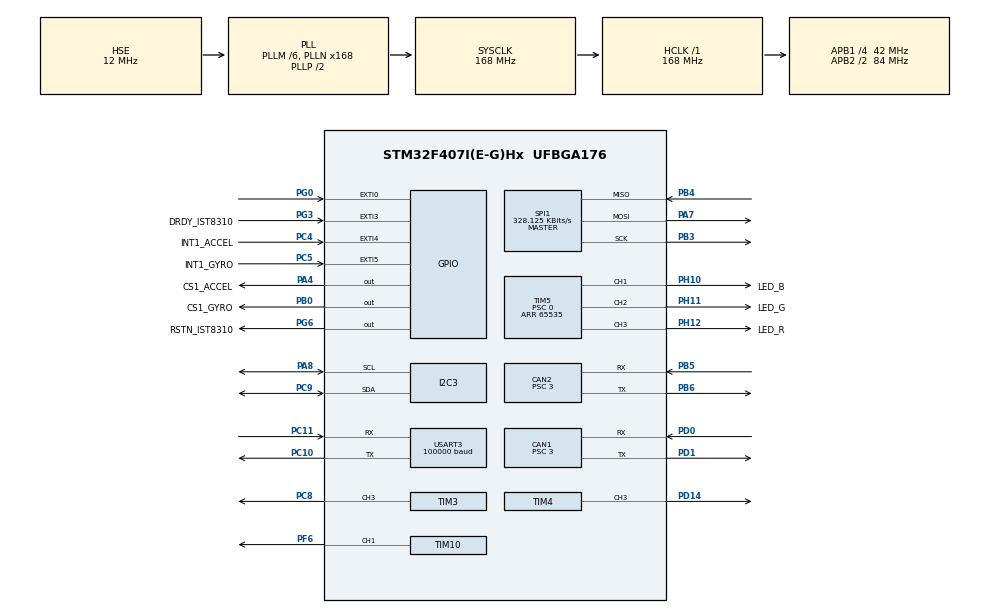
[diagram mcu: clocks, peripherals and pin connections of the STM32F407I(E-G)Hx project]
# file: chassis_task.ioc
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CAN1.BS1=CAN_BS1_10TQ
CAN1.BS2=CAN_BS2_3TQ
CAN1.CalculateBaudRate=1000000
CAN1.CalculateTimeQuantum=71.42857142857143
CAN1.Prescaler=3
CAN2.BS1=CAN_BS1_10TQ
CAN2.BS2=CAN_BS2_3TQ
CAN2.CalculateBaudRate=1000000
CAN2.CalculateTimeQuantum=71.42857142857143
CAN2.Prescaler=3
Dma.Request0=SPI1_RX
Dma.Request1=SPI1_TX
Dma.Request2=USART3_RX
Dma.SPI1_RX.0.Direction=DMA_PERIPH_TO_MEMORY
Dma.SPI1_RX.0.FIFOMode=DMA_FIFOMODE_DISABLE
Dma.SPI1_RX.0.Instance=DMA2_Stream2
Dma.SPI1_RX.0.MemDataAlignment=DMA_MDATAALIGN_BYTE
Dma.SPI1_RX.0.MemInc=DMA_MINC_ENABLE
Dma.SPI1_RX.0.Mode=DMA_NORMAL
Dma.SPI1_RX.0.PeriphDataAlignment=DMA_PDATAALIGN_BYTE
Dma.SPI1_RX.0.PeriphInc=DMA_PINC_DISABLE
Dma.SPI1_RX.0.Priority=DMA_PRIORITY_VERY_HIGH
Dma.SPI1_TX.1.Direction=DMA_MEMORY_TO_PERIPH
Dma.SPI1_TX.1.FIFOMode=DMA_FIFOMODE_DISABLE
Dma.SPI1_TX.1.Instance=DMA2_Stream3
Dma.SPI1_TX.1.MemDataAlignment=DMA_MDATAALIGN_BYTE
Dma.SPI1_TX.1.MemInc=DMA_MINC_ENABLE
Dma.SPI1_TX.1.Mode=DMA_NORMAL
Dma.SPI1_TX.1.PeriphDataAlignment=DMA_PDATAALIGN_BYTE
Dma.SPI1_TX.1.PeriphInc=DMA_PINC_DISABLE
Dma.SPI1_TX.1.Priority=DMA_PRIORITY_HIGH
Dma.USART3_RX.2.Direction=DMA_PERIPH_TO_MEMORY
Dma.USART3_RX.2.FIFOMode=DMA_FIFOMODE_DISABLE
Dma.USART3_RX.2.Instance=DMA1_Stream1
Dma.USART3_RX.2.MemDataAlignment=DMA_MDATAALIGN_BYTE
Dma.USART3_RX.2.MemInc=DMA_MINC_ENABLE
Dma.USART3_RX.2.Mode=DMA_NORMAL
Dma.USART3_RX.2.PeriphDataAlignment=DMA_PDATAALIGN_BYTE
Dma.USART3_RX.2.PeriphInc=DMA_PINC_DISABLE
Dma.USART3_RX.2.Priority=DMA_PRIORITY_HIGH
FREERTOS.INCLUDE_eTaskGetState=1
FREERTOS.INCLUDE_pcTaskGetTaskName=1
FREERTOS.INCLUDE_uxTaskGetStackHighWaterMark=1
FREERTOS.INCLUDE_vTaskCleanUpResources=1
FREERTOS.INCLUDE_vTaskDelayUntil=1
FREERTOS.INCLUDE_xEventGroupSetBitFromISR=1
FREERTOS.INCLUDE_xQueueGetMutexHolder=1
FREERTOS.INCLUDE_xSemaphoreGetMutexHolder=1
FREERTOS.INCLUDE_xTaskAbortDelay=1
FREERTOS.INCLUDE_xTaskGetCurrentTaskHandle=1
FREERTOS.INCLUDE_xTaskGetHandle=1
FREERTOS.INCLUDE_xTimerPendFunctionCall=1
FREERTOS.Tasks01=test,24,128,test_task,As weak,NULL,Dynamic,NULL,NULL
FREERTOS.configTOTAL_HEAP_SIZE=24576
I2C3.I2C_Mode=I2C_Fast
Mcu.Family=STM32F4
Mcu.Name=STM32F407I(E-G)Hx
Mcu.Package=UFBGA176
NVIC.CAN1_RX0_IRQn=true\:6\:0\:true\:false\:true\:true\:true\:true\:true
NVIC.CAN2_RX0_IRQn=true\:6\:0\:true\:false\:true\:true\:true\:true\:true
NVIC.DMA1_Stream1_IRQn=true\:5\:0\:true\:false\:false\:true\:false\:false\:true
NVIC.DMA2_Stream2_IRQn=true\:5\:0\:true\:false\:false\:true\:false\:true\:true
NVIC.DMA2_Stream3_IRQn=true\:5\:0\:true\:false\:false\:true\:false\:true\:true
NVIC.EXTI0_IRQn=true\:6\:0\:true\:false\:true\:true\:true\:true\:true
NVIC.EXTI3_IRQn=true\:5\:0\:true\:false\:true\:true\:true\:true\:true
NVIC.EXTI4_IRQn=true\:5\:0\:true\:false\:true\:true\:true\:true\:true
NVIC.EXTI9_5_IRQn=true\:5\:0\:true\:false\:true\:true\:true\:true\:true
NVIC.PriorityGroup=NVIC_PRIORITYGROUP_4
NVIC.USART3_IRQn=true\:4\:0\:true\:false\:false\:false\:true\:true\:true
PA13.Mode=Serial_Wire
PA13.Signal=SYS_JTMS-SWDIO
PA14.Mode=Serial_Wire
PA14.Signal=SYS_JTCK-SWCLK
PA4.GPIO_Label=CS1_ACCEL
PA4.GPIO_PuPd=GPIO_PULLUP
PA4.GPIO_Speed=GPIO_SPEED_FREQ_HIGH
PA4.PinState=GPIO_PIN_SET
PA4.Signal=GPIO_Output
PA7.GPIO_PuPd=GPIO_PULLUP
PA7.Mode=Full_Duplex_Master
PA7.Signal=SPI1_MOSI
PA8.GPIO_Pu=GPIO_PULLUP
PA8.Mode=I2C
PA8.Signal=I2C3_SCL
PB0.GPIO_Label=CS1_GYRO
PB0.GPIO_PuPd=GPIO_PULLUP
PB0.GPIO_Speed=GPIO_SPEED_FREQ_HIGH
PB0.PinState=GPIO_PIN_SET
PB0.Signal=GPIO_Output
PB3.GPIO_PuPd=GPIO_PULLUP
PB3.Mode=Full_Duplex_Master
PB3.Signal=SPI1_SCK
PB4.GPIO_PuPd=GPIO_PULLUP
PB4.Mode=Full_Duplex_Master
PB4.Signal=SPI1_MISO
PB5.Mode=CAN_Activate
PB5.Signal=CAN2_RX
PB6.Mode=CAN_Activate
PB6.Signal=CAN2_TX
PC10.Mode=Asynchronous
PC10.Signal=USART3_TX
PC11.Mode=Asynchronous
PC11.Signal=USART3_RX
PC4.GPIO_Label=INT1_ACCEL
PC4.GPIO_ModeDefaultEXTI=GPIO_MODE_IT_FALLING
PC4.GPIO_PuPd=GPIO_PULLUP
PC4.Signal=GPXTI4
PC5.GPIO_Label=INT1_GYRO
PC5.GPIO_ModeDefaultEXTI=GPIO_MODE_IT_FALLING
PC5.GPIO_PuPd=GPIO_PULLUP
PC5.Signal=GPXTI5
PC8.GPIO_PuPd=GPIO_PULLUP
PC8.GPIO_Speed=GPIO_SPEED_FREQ_HIGH
PC8.Signal=S_TIM3_CH3
PC9.GPIO_Pu=GPIO_PULLUP
PC9.Mode=I2C
PC9.Signal=I2C3_SDA
PD0.Mode=CAN_Activate
PD0.Signal=CAN1_RX
PD1.Mode=CAN_Activate
PD1.Signal=CAN1_TX
PD14.GPIO_PuPd=GPIO_PULLUP
PD14.GPIO_Speed=GPIO_SPEED_FREQ_HIGH
PD14.Signal=S_TIM4_CH3
PF6.GPIO_PuPd=GPIO_PULLUP
PF6.GPIO_Speed=GPIO_SPEED_FREQ_HIGH
PF6.Signal=S_TIM10_CH1
PG0.GPIO_ModeDefaultEXTI=GPIO_MODE_IT_FALLING
PG0.GPIO_PuPd=GPIO_PULLUP
PG0.Signal=GPXTI0
PG3.GPIO_Label=DRDY_IST8310
PG3.GPIO_ModeDefaultEXTI=GPIO_MODE_IT_FALLING
PG3.GPIO_PuPd=GPIO_PULLUP
PG3.Signal=GPXTI3
PG6.GPIO_Label=RSTN_IST8310
PG6.GPIO_PuPd=GPIO_PULLUP
PG6.GPIO_Speed=GPIO_SPEED_FREQ_MEDIUM
PG6.PinState=GPIO_PIN_SET
PG6.Signal=GPIO_Output
PH0-OSC_IN.Mode=HSE-External-Oscillator
PH0-OSC_IN.Signal=RCC_OSC_IN
PH1-OSC_OUT.Mode=HSE-External-Oscillator
PH1-OSC_OUT.Signal=RCC_OSC_OUT
PH10.GPIO_Label=LED_B
PH10.GPIO_PuPd=GPIO_PULLUP
PH10.GPIO_Speed=GPIO_SPEED_FREQ_HIGH
PH10.Signal=S_TIM5_CH1
PH11.GPIO_Label=LED_G
PH11.GPIO_PuPd=GPIO_PULLUP
PH11.GPIO_Speed=GPIO_SPEED_FREQ_HIGH
PH11.Signal=S_TIM5_CH2
PH12.GPIO_Label=LED_R
PH12.GPIO_PuPd=GPIO_PULLUP
PH12.GPIO_Speed=GPIO_SPEED_FREQ_HIGH
PH12.Signal=S_TIM5_CH3
ProjectManager.HeapSize=0x2000
ProjectManager.StackSize=0x2000
ProjectManager.TargetToolchain=Makefile
RCC.48MHZClocksFreq_Value=48000000
RCC.AHBFreq_Value=168000000
RCC.APB1CLKDivider=RCC_HCLK_DIV4
RCC.APB1Freq_Value=42000000
RCC.APB1TimFreq_Value=84000000
RCC.APB2CLKDivider=RCC_HCLK_DIV2
RCC.APB2Freq_Value=84000000
RCC.APB2TimFreq_Value=168000000
RCC.CortexFreq_Value=168000000
RCC.HCLKFreq_Value=168000000
RCC.HSE_VALUE=12000000
RCC.HSI_VALUE=16000000
RCC.LSE_VALUE=32768
RCC.PLLM=6
RCC.PLLN=168
RCC.PLLQ=7
RCC.PLLSourceVirtual=RCC_PLLSOURCE_HSE
RCC.RCC_RTC_Clock_SourceVirtual=RCC_RTCCLKSOURCE_HSE_DIV30
RCC.RCC_RTC_Clock_Source_FROM_HSE=RCC_RTCCLKSOURCE_HSE_DIV30
RCC.SYSCLKFreq_VALUE=168000000
RCC.SYSCLKSource=RCC_SYSCLKSOURCE_PLLCLK
RCC.VCOOutputFreq_Value=336000000
RTC.AsynchPrediv=124
RTC.SynchPrediv=3199
SH.S_TIM10_CH1.0=TIM10_CH1,PWM Generation1 CH1
SH.S_TIM3_CH3.0=TIM3_CH3,PWM Generation3 CH3
SH.S_TIM4_CH3.0=TIM4_CH3,PWM Generation3 CH3
SH.S_TIM5_CH1.0=TIM5_CH1,PWM Generation1 CH1
SH.S_TIM5_CH2.0=TIM5_CH2,PWM Generation2 CH2
SH.S_TIM5_CH3.0=TIM5_CH3,PWM Generation3 CH3
SPI1.BaudRatePrescaler=SPI_BAUDRATEPRESCALER_256
SPI1.CLKPhase=SPI_PHASE_2EDGE
SPI1.CLKPolarity=SPI_POLARITY_HIGH
SPI1.CalculateBaudRate=328.125 KBits/s
SPI1.Direction=SPI_DIRECTION_2LINES
SPI1.Mode=SPI_MODE_MASTER
SPI1.VirtualType=VM_MASTER
TIM10.Channel=TIM_CHANNEL_1
TIM10.Period=4999
TIM3.Channel-PWM\ Generation3\ CH3=TIM_CHANNEL_3
TIM3.Period=8399
TIM4.Channel-PWM\ Generation3\ CH3=TIM_CHANNEL_3
TIM4.Period=65535
TIM4.Prescaler=167
TIM5.Channel-PWM\ Generation1\ CH1=TIM_CHANNEL_1
TIM5.Channel-PWM\ Generation2\ CH2=TIM_CHANNEL_2
TIM5.Channel-PWM\ Generation3\ CH3=TIM_CHANNEL_3
TIM5.Period=65535
TIM5.Prescaler=0
TIM8.Period=19999
TIM8.Prescaler=167
USART3.BaudRate=100000
USART3.Parity=PARITY_EVEN
USART3.VirtualMode=VM_ASYNC
VP_FREERTOS_VS_CMSIS_V1.Mode=CMSIS_V1
VP_RTC_VS_RTC_Activate.Mode=RTC_Enabled
VP_TIM10_VS_ClockSourceINT.Mode=Enable_Timer
VP_TIM3_VS_ClockSourceINT.Mode=Internal
VP_TIM4_VS_ClockSourceINT.Mode=Internal
VP_TIM5_VS_ClockSourceINT.Mode=Internal
VP_TIM8_VS_ClockSourceINT.Mode=Internal
board=custom

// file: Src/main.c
/* USER CODE BEGIN Header */
/**
  ******************************************************************************
  * @file           : main.c
  * @brief          : Main program body
  ******************************************************************************
  * @attention
  *
  * <h2><center>&copy; Copyright (c) 2025 STMicroelectronics.
  * All rights reserved.</center></h2>
  *
  * This software component is licensed by ST under Ultimate Liberty license
  * SLA0044, the "License"; You may not use this file except in compliance with
  * the License. You may obtain a copy of the License at:
  *                             www.st.com/SLA0044
  *
  ******************************************************************************
  */
/* USER CODE END Header */
#include "main.h"
#include "cmsis_os.h"
#include "can.h"
#include "dma.h"
#include "i2c.h"
#include "rtc.h"
#include "spi.h"
#include "tim.h"
#include "usart.h"
#include "gpio.h"

/* USER CODE BEGIN Includes */
#include "led_flow_task.h"
#include "remote_control.h"
#include "chassis_task.h"

/* USER CODE END Includes */

void SystemClock_Config(void);
void MX_FREERTOS_Init(void);

int main(void)
{

  /* MCU Configuration--------------------------------------------------------*/

  /* Reset of all peripherals, Initializes the Flash interface and the Systick. */
  HAL_Init();

  /* Configure the system clock */
  SystemClock_Config();

  /* Initialize all configured peripherals */
  MX_GPIO_Init();
  MX_DMA_Init();
  MX_CAN1_Init();
  MX_CAN2_Init();
  MX_SPI1_Init();
  MX_TIM4_Init();
  MX_TIM5_Init();
  MX_USART3_UART_Init();
  MX_TIM8_Init();
  MX_I2C3_Init();
  MX_RTC_Init();
  MX_TIM3_Init();
  MX_TIM10_Init();
  /* USER CODE BEGIN 2 */
  can_filter_init();
  remote_control_init();
  /* USER CODE END 2 */

  /* Call init function for freertos objects (in freertos.c) */
  MX_FREERTOS_Init();

  /* Start scheduler */
  osKernelStart();

  /* We should never get here as control is now taken by the scheduler */
  /* Infinite loop */
  while (1)
  {

  }
}

void SystemClock_Config(void)
{
  RCC_OscInitTypeDef RCC_OscInitStruct = {0};
  RCC_ClkInitTypeDef RCC_ClkInitStruct = {0};

  /** Configure the main internal regulator output voltage
  */
  __HAL_RCC_PWR_CLK_ENABLE();
  __HAL_PWR_VOLTAGESCALING_CONFIG(PWR_REGULATOR_VOLTAGE_SCALE1);

  /** Initializes the RCC Oscillators according to the specified parameters
  * in the RCC_OscInitTypeDef structure.
  */
  RCC_OscInitStruct.OscillatorType = RCC_OSCILLATORTYPE_HSE;
  RCC_OscInitStruct.HSEState = RCC_HSE_ON;
  RCC_OscInitStruct.PLL.PLLState = RCC_PLL_ON;
  RCC_OscInitStruct.PLL.PLLSource = RCC_PLLSOURCE_HSE;
  RCC_OscInitStruct.PLL.PLLM = 6;
  RCC_OscInitStruct.PLL.PLLN = 168;
  RCC_OscInitStruct.PLL.PLLP = RCC_PLLP_DIV2;
  RCC_OscInitStruct.PLL.PLLQ = 7;
  if (HAL_RCC_OscConfig(&RCC_OscInitStruct) != HAL_OK)
  {
    Error_Handler();
  }

  /** Initializes the CPU, AHB and APB buses clocks
  */
  RCC_ClkInitStruct.ClockType = RCC_CLOCKTYPE_HCLK|RCC_CLOCKTYPE_SYSCLK
                              |RCC_CLOCKTYPE_PCLK1|RCC_CLOCKTYPE_PCLK2;
  RCC_ClkInitStruct.SYSCLKSource = RCC_SYSCLKSOURCE_PLLCLK;
  RCC_ClkInitStruct.AHBCLKDivider = RCC_SYSCLK_DIV1;
  RCC_ClkInitStruct.APB1CLKDivider = RCC_HCLK_DIV4;
  RCC_ClkInitStruct.APB2CLKDivider = RCC_HCLK_DIV2;

  if (HAL_RCC_ClockConfig(&RCC_ClkInitStruct, FLASH_LATENCY_5) != HAL_OK)
  {
    Error_Handler();
  }
}

void Error_Handler(void)
{
}

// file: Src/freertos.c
/* USER CODE BEGIN Header */
/**
  ******************************************************************************
  * File Name          : freertos.c
  * Description        : Code for freertos applications
  ******************************************************************************
  * @attention
  *
  * <h2><center>&copy; Copyright (c) 2025 STMicroelectronics.
  * All rights reserved.</center></h2>
  *
  * This software component is licensed by ST under Ultimate Liberty license
  * SLA0044, the "License"; You may not use this file except in compliance with
  * the License. You may obtain a copy of the License at:
  *                             www.st.com/SLA0044
  *
  ******************************************************************************
  */
/* USER CODE END Header */

#include "FreeRTOS.h"
#include "task.h"
#include "main.h"
#include "cmsis_os.h"

/* USER CODE BEGIN Includes */
#include "led_flow_task.h"
#include "chassis_task.h"
#include "detect_task.h"
/* USER CODE END Includes */

/* USER CODE BEGIN PTD */
osThreadId led_RGB_flow_handle;
osThreadId chassisTaskHandle;
osThreadId detect_handle;
/* USER CODE END PTD */

osThreadId testHandle;

void test_task(void const * argument);

void MX_FREERTOS_Init(void); /* (MISRA C 2004 rule 8.1) */

/* GetIdleTaskMemory prototype (linked to static allocation support) */
void vApplicationGetIdleTaskMemory( StaticTask_t **ppxIdleTaskTCBBuffer, StackType_t **ppxIdleTaskStackBuffer, uint32_t *pulIdleTaskStackSize );

/* GetTimerTaskMemory prototype (linked to static allocation support) */
void vApplicationGetTimerTaskMemory( StaticTask_t **ppxTimerTaskTCBBuffer, StackType_t **ppxTimerTaskStackBuffer, uint32_t *pulTimerTaskStackSize );

/* USER CODE BEGIN GET_IDLE_TASK_MEMORY */
static StaticTask_t xIdleTaskTCBBuffer;
static StackType_t xIdleStack[configMINIMAL_STACK_SIZE];

void vApplicationGetIdleTaskMemory( StaticTask_t **ppxIdleTaskTCBBuffer, StackType_t **ppxIdleTaskStackBuffer, uint32_t *pulIdleTaskStackSize )
{
  *ppxIdleTaskTCBBuffer = &xIdleTaskTCBBuffer;
  *ppxIdleTaskStackBuffer = &xIdleStack[0];
  *pulIdleTaskStackSize = configMINIMAL_STACK_SIZE;
  /* place for user code */
}
/* USER CODE END GET_IDLE_TASK_MEMORY */

/* USER CODE BEGIN GET_TIMER_TASK_MEMORY */
static StaticTask_t xTimerTaskTCBBuffer;
static StackType_t xTimerStack[configTIMER_TASK_STACK_DEPTH];

void vApplicationGetTimerTaskMemory( StaticTask_t **ppxTimerTaskTCBBuffer, StackType_t **ppxTimerTaskStackBuffer, uint32_t *pulTimerTaskStackSize )
{
  *ppxTimerTaskTCBBuffer = &xTimerTaskTCBBuffer;
  *ppxTimerTaskStackBuffer = &xTimerStack[0];
  *pulTimerTaskStackSize = configTIMER_TASK_STACK_DEPTH;
  /* place for user code */
}
/* USER CODE END GET_TIMER_TASK_MEMORY */

void MX_FREERTOS_Init(void) {

  /* Create the thread(s) */
  /* definition and creation of test */
  osThreadDef(test, test_task, osPriorityNormal, 0, 128);
  testHandle = osThreadCreate(osThread(test), NULL);

  /* USER CODE BEGIN RTOS_THREADS */
  /* add threads, ... */
  osThreadDef(ChassisTask, chassis_task, osPriorityAboveNormal, 0, 512);
  chassisTaskHandle = osThreadCreate(osThread(ChassisTask), NULL);

  osThreadDef(led, led_RGB_flow_task, osPriorityNormal, 0, 256);
  led_RGB_flow_handle = osThreadCreate(osThread(led), NULL);
  /* USER CODE END RTOS_THREADS */

}

__weak void test_task(void const * argument)
{
  for(;;)
  {
    osDelay(1);
  }
}
